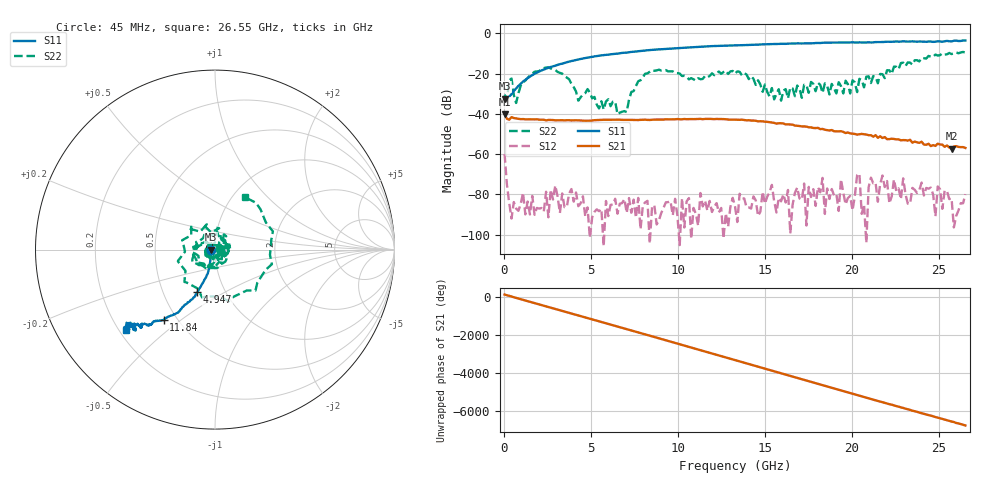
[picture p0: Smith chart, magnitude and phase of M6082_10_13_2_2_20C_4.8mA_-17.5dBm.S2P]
!  2-Port S-parameters saved by WinCal
! VAR MeasName=S-Parameters (CALIBRATED_DATA) read from VNA (C)
! VAR MeasDate=10/16/2015 2:35:02 PM
! VAR NAME=M6082_10_13_2_2_20C_4.8mA_-17.5dBm
! VAR FILENAME=M6082_10_13_2_2_20C_4.8mA_-17.5dBm.S2P
! VAR DATE=10/16/2015 2:35:02 PM
! VAR PHYS_PORTS=2,1
! VAR ObjTypeName=DATASET
! VAR IndexType=Frequency
# Hz S RI R 50
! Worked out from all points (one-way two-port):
!   201 points, 45 MHz to 26.55 GHz, reference 50 ohm
!   highest |S21| = -40.21 dB at 45 MHz (marker M1); lowest = -57.3 dB at 25.75 GHz (marker M2)
!   lowest |S11| = -32.3 dB at 45 MHz (marker M3), VSWR 1.05, Z = 47.6 + j0.0326 ohm
!   |S11| at or under -10 dB: start of sweep to 6.552 GHz
!   |S22| runs from -40.2 to -9.2 dB; largest |S21 - S12| = 0.0095
!   S11 on the Smith chart (normalised r, x): 45 MHz: 0.95, +0.00; 4.947 GHz: 0.74, -0.38; 11.84 GHz: 0.42, -0.43; 26.55 GHz: 0.23, -0.37
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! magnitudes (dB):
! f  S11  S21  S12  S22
! 45 MHz  -32.3  -40.2  -59.9  -30.4
! 310 MHz  -31.4  -42.9  -84.3  -23.4
! 707.5 MHz  -27.3  -42.2  -87.0  -34.6
! 2.43 GHz  -17.5  -43.2  -78.6  -16.9
! 4.55 GHz  -12.5  -43.3  -80.9  -30.3
! 4.947 GHz  -11.8  -43.4  -101.5  -29.4
! 7.067 GHz  -9.5  -43.0  -89.2  -39.1
! 7.73 GHz  -8.8  -43.0  -81.7  -23.7
! 8.922 GHz  -7.9  -42.8  -92.8  -18.0
! 11.84 GHz  -6.3  -42.5  -83.2  -21.1
! 13.29 GHz  -5.9  -42.8  -85.9  -20.0
! 15.95 GHz  -5.2  -44.6  -83.4  -33.4
! 17.8 GHz  -4.9  -47.0  -77.4  -25.1
! 20.18 GHz  -4.5  -49.9  -81.0  -24.3
! 20.45 GHz  -4.4  -50.1  -69.6  -22.6
! 20.58 GHz  -4.5  -49.9  -89.7  -23.1
! 21.77 GHz  -4.3  -51.9  -70.6  -20.3
! 22.17 GHz  -4.1  -52.5  -84.4  -18.3
! 22.97 GHz  -3.9  -53.0  -72.0  -14.5
! 23.1 GHz  -4.0  -53.0  -79.8  -16.2
! 25.75 GHz  -3.9  -57.3  -81.9  -10.2
! 26.55 GHz  -3.5  -56.9  -79.8  -9.5
